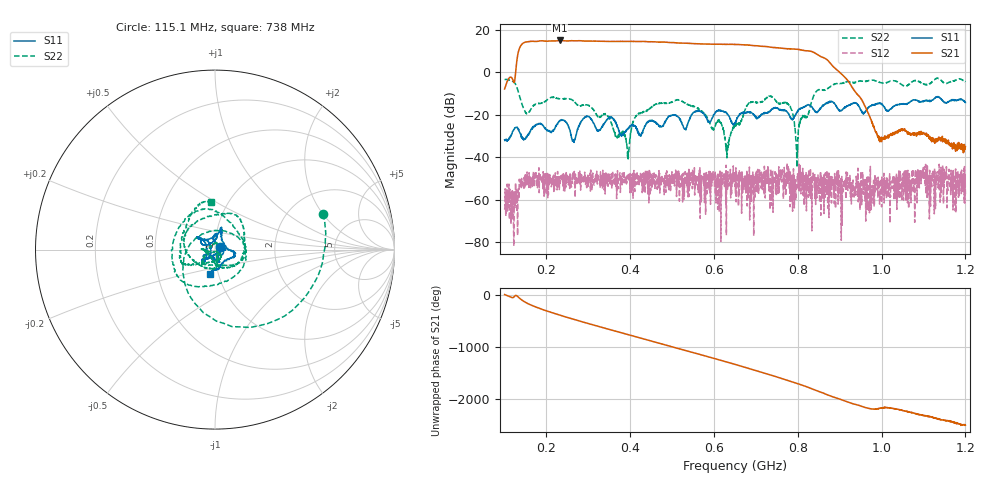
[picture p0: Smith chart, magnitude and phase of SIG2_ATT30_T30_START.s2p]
# Hz S DB R 50
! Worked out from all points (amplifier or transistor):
!   1601 points, 100 MHz to 1.2 GHz, reference 50 ohm
!   highest |S21| = 14.9 dB at 232 MHz (marker M1)
!   |S21| within 3 dB of that: 137 MHz to 730 MHz (593 MHz wide, 137 % of centre)
!   unconditionally stable (mu >= 1): start of sweep to end of sweep
!   at 282.9 MHz: K = 34.54, MAG = 14.9 dB, |S12| = -51.8 dB
!   at 650 MHz: K = 55.50, MAG = 13.0 dB, |S12| = -53.9 dB
!   at 1.2 GHz: K = 13225.69, MAG = -33.0 dB, |S12| = -57.4 dB
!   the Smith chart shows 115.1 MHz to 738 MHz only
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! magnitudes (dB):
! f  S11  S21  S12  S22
! 100 MHz  -31.8  -7.9  -64.7  -3.5
! 122 MHz  -27.1  -4.8  -81.8  -4.7
! 144 MHz  -31.6  13.6  -51.8  -16.3
! 232 MHz  -22.8  14.9  -53.2  -12.5
! 264.3 MHz  -32.4  14.8  -48.2  -13.3
! 283.6 MHz  -22.9  14.7  -48.3  -15.6
! 394.2 MHz  -26.8  14.4  -48.8  -37.2
! 413.5 MHz  -26.4  14.4  -52.0  -20.5
! 467.1 MHz  -25.1  14.2  -51.4  -14.6
! 562.7 MHz  -18.3  13.3  -56.7  -17.4
! 614.9 MHz  -18.2  13.1  -56.1  -23.7
! 630.8 MHz  -19.6  13.1  -53.9  -40.3
! 650 MHz  -24.2  13.0  -53.9  -24.9
! 734.6 MHz  -18.2  11.7  -52.2  -11.4
! 779.9 MHz  -20.5  10.9  -55.3  -15.4
! 797.8 MHz  -18.9  10.8  -54.6  -44.8
! 833.6 MHz  -16.4  9.7  -74.6  -13.5
! 918.8 MHz  -15.8  -3.9  -53.6  -4.5
! 994.4 MHz  -14.8  -32.3  -53.9  -4.8
! 1.017 GHz  -17.9  -29.6  -55.5  -4.5
! 1.097 GHz  -13.9  -29.1  -50.2  -5.3
! 1.2 GHz  -14.3  -35.0  -57.4  -4.7
